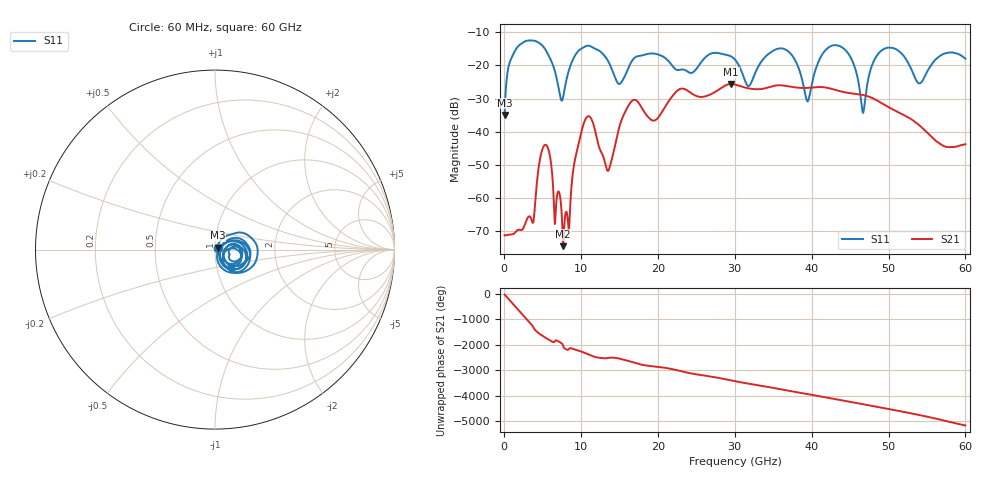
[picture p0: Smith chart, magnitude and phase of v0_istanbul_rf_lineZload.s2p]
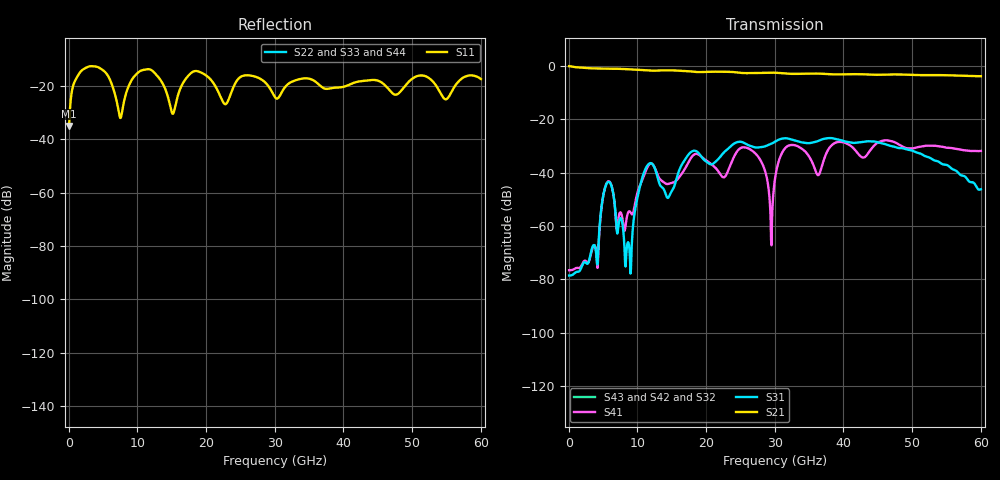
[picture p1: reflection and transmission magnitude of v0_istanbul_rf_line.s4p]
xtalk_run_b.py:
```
"""Istanbul run (b): line pair with the real far-end terminations (RS 25 ohm, RG 50 ohm, per line), ports only at the
near end: CST port 1 = line A (y = 0), CST port 3 = line B (y = -0.625), both z = 0.3 (touchstone ports 1, 2).
NEXT = |S21| of the s2p (CST S31). EO crosstalk from the gap fields as in run (a): both lines sampled 5 um from their
centre (A y +-0.005, B y -0.62/-0.63), 50 ohm source, push-pull, n_g 2.27. The fields already contain the
terminations, so no renormalisation. Compared with run (a) (50 ohm ports at both ends of both lines)."""
import os, sys
HERE = os.path.dirname(os.path.abspath(__file__))
RA = os.path.join(HERE, "../istanbul_run_a")
sys.path.insert(0, RA); sys.path.insert(0, os.path.abspath(os.path.join(HERE, "../../../..")))
import numpy as np, skrf as rf, matplotlib
matplotlib.use("Agg"); import matplotlib.pyplot as plt
from mzm_interconnect import parameters as P, xtalk_fields as XF
from load_fields import load
p = P.defaults(); p["Rt_R"] = 50.0; p["Zs_R"] = 50.0
dB = lambda s: 20 * np.log10(np.maximum(abs(s), 1e-12))
Xb = XF.eo_crosstalk_fields(p, load(base=HERE, a_zip="e-field (f=1) [1]_lineA.zip")); f = Xb["f_GHz"]
Xa = XF.eo_crosstalk_fields(p, load()); assert np.allclose(Xa["f_GHz"], f)
eob, eoa = dB(Xb["X"]), dB(Xa["X"])
nb = rf.Network(os.path.join(HERE, "v0_istanbul_rf_lineZload.s2p")); fb = nb.f / 1e9
na = rf.Network(os.path.join(RA, "v0_istanbul_rf_line.s4p")); fa = na.f / 1e9
nxb_s, nxa_s = dB(nb.s[:, 1, 0]), dB(na.s[:, 2, 0])
nxb = np.interp(f, fb, nxb_s)
# termination check: DC load seen at port 1 (line resistance included)
s0 = nb.s[0, 0, 0].real; print(f"S11 at DC {s0:+.4f} -> input resistance {50 * (1 + s0) / (1 - s0):.1f} ohm (load + line series R)")
m = (fb >= 1) & (fb <= 60); ma = (fa >= 1) & (fa <= 60)
print(f"|S11| 1-60 GHz: run b median {np.median(dB(nb.s[m, 0, 0])):.1f} dB, max {dB(nb.s[m, 0, 0]).max():.1f}; "
      f"run a median {np.median(dB(na.s[ma, 0, 0])):.1f}, max {dB(na.s[ma, 0, 0]).max():.1f} dB")
np.savetxt(os.path.join(HERE, "xtalk_run_b.csv"), np.c_[f, nxb, eob, eoa], delimiter=",", fmt="%.3f",
           header="f_GHz,NEXT_dB_run_b,EO_dB_run_b,EO_dB_run_a", comments="")
k = f >= 5; d = eob - eoa
print("f (GHz) | NEXT b | EO b | EO a | EO b - a (dB)")
for q in (5, 10, 20, 30, 40, 50, 60):
    i = np.argmin(abs(f - q)); print(f"{q:3d} | {nxb[i]:6.1f} | {eob[i]:6.1f} | {eoa[i]:6.1f} | {d[i]:+5.1f}")
for lab, y in (("NEXT b", nxb), ("EO b", eob), ("EO a", eoa)):
    j = np.argmax(np.where(k, y, -999)); print(f"max {lab} 5-60 GHz: {y[j]:.1f} dB at {f[j]:.0f} GHz")
print("EO b - EO a, 5-60 GHz: median %+.1f dB, 5-95%% %+.1f .. %+.1f; correlation of dB curves %.2f"
      % (np.median(d[k]), *np.percentile(d[k], [5, 95]), np.corrcoef(eob[k], eoa[k])[0, 1]))
print("corr(EO b, NEXT b) 5-60 GHz: %.2f" % np.corrcoef(eob[k], nxb[k])[0, 1])
fig, ax = plt.subplots(figsize=(8.5, 4.6))
ax.plot(fb, nxb_s, color="0.55", lw=1.0, label="NEXT |S31| (port data)")
ax.plot(f, eob, "o-", color="#2a78d6", ms=3, lw=1.4, label="EO crosstalk B/A (gap fields)")
ax.set_xlim(0, 60); ax.set_ylim(-110, -20); ax.set_xlabel("frequency (GHz)"); ax.set_ylabel("dB"); ax.grid(alpha=0.3)
ax.set_title("Istanbul run (b), 8.75 mm, 625 um pitch, real terminations (RS 25, RG 50 ohm): NEXT and EO crosstalk", fontsize=9.5)
ax.legend(frameon=False, fontsize=8, loc="lower right"); fig.tight_layout(); fig.savefig(os.path.join(HERE, "xtalk_run_b.png"), dpi=150)
fig, ax = plt.subplots(figsize=(8.5, 4.6))
ax.plot(f, eoa, "o-", color="#eb6834", ms=3, lw=1.3, label="run (a): 50 ohm ports at both ends")
ax.plot(f, eob, "o-", color="#2a78d6", ms=3, lw=1.3, label="run (b): real terminations at the far end")
ax.set_xlim(0, 60); ax.set_ylim(-110, -20); ax.set_xlabel("frequency (GHz)"); ax.set_ylabel("EO crosstalk B/A (dB)"); ax.grid(alpha=0.3)
ax.set_title("Istanbul 8.75 mm, EO crosstalk: run (a) vs run (b) (gap fields, both lines sampled at +-5 um)", fontsize=9.5)
ax.legend(frameon=False, fontsize=8, loc="lower right"); fig.tight_layout(); fig.savefig(os.path.join(HERE, "eo_run_a_vs_b.png"), dpi=150)
```
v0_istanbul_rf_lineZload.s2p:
! TOUCHSTONE file generated by CST MICROWAVE STUDIO
! Date and time: Thu Nov  5 17:02:14 2026
! Project name: v0_istanbul_rf_line+Zload.cst
! Parameters = {LN_THICKNESS=0.000275; RG=50; RS=25; SILICON_THICKNESS=0.55}
! Header version: 2024
! Port assignment regex: !\s*Touchstone port\s*([0-9]+)\s*=\s*(CST MWS port|CST DES external port|CST DES block port)\s*(.+)\s* \(\"(.*)\"\)(\s*mode\s*([0-9]+))?.*
! Touchstone port assignment:
! Touchstone port 1 = CST MWS port 1 ("")
! Touchstone port 2 = CST MWS port 3 ("")
# GHz S MA R 50
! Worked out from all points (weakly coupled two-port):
!   1000 points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, 60 MHz to 60 GHz, reference 50 ohm
!   highest |S21| = -25.63 dB at 29.52 GHz (marker M1); lowest = -74.6 dB at 7.68 GHz (marker M2)
!   lowest |S11| = -35.0 dB at 60 MHz (marker M3), VSWR 1.04, Z = 51.4 + j1.12 ohm
!   |S11| at or under -10 dB: start of sweep to end of sweep
!   S12 and S22 are empty: the file has one direction only
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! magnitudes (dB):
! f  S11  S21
! 60 MHz  -35.0  -71.3
! 5.34 GHz  -15.1  -44.0
! 7.68 GHz  -29.5  -74.6
! 10.8 GHz  -14.1  -35.5
! 13.5 GHz  -18.6  -51.9
! 16.68 GHz  -18.4  -30.6
! 29.52 GHz  -17.3  -25.6
! 30.06 GHz  -18.3  -25.8
! 43.56 GHz  -14.1  -27.7
! 46.68 GHz  -34.4  -28.9
! 60 GHz  -18.0  -43.8
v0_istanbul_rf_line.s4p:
! TOUCHSTONE file generated by CST MICROWAVE STUDIO
! Date and time: Thu Nov  5 15:45:10 2026
! Project name: v0_istanbul_rf_line.cst
! Parameters = {LN_THICKNESS=0.000275; SILICON_THICKNESS=0.55}
! Header version: 2024
! Port assignment regex: !\s*Touchstone port\s*([0-9]+)\s*=\s*(CST MWS port|CST DES external port|CST DES block port)\s*(.+)\s* \(\"(.*)\"\)(\s*mode\s*([0-9]+))?.*
! Touchstone port assignment:
! Touchstone port 1 = CST MWS port 1 ("")
! Touchstone port 2 = CST MWS port 2 ("")
! Touchstone port 3 = CST MWS port 3 ("")
! Touchstone port 4 = CST MWS port 4 ("")
# GHz S MA R 50
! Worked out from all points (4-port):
!   1000 points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, 60 MHz to 60 GHz, reference 50 ohm
!   strongest paths, dB at 60 MHz, 15.06 GHz, 30.06 GHz, 45.06 GHz, 60 GHz:
!     S21: -0.1, -1.7, -2.6, -3.4, -3.9
!     S31: -78.5, -46.7, -28.4, -28.7, -46.2
!     S41: -76.5, -43.8, -41.8, -28.6, -31.9
!     S43: -, -, -, -, -
!     S42: -, -, -, -, -
!     S32: -, -, -, -, -
!   lowest |S11| = -35.0 dB at 60 MHz (marker M1), VSWR 1.04, Z = 51.4 + j1.06 ohm
!   |S11| at or under -10 dB: start of sweep to end of sweep
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0.06  0.01769 35.6  0 0.0  0 0.0  0 0.0
      0.9858 -1.8  0 0.0  0 0.0  0 0.0
      0.0001184 158.7  0 0.0  0 0.0  0 0.0
      0.0001491 -20.8  0 0.0  0 0.0  0 0.0
18.18  0.1852 0.8  0 0.0  0 0.0  0 0.0
       0.7761 -71.4  0 0.0  0 0.0  0 0.0
       0.02569 -168.8  0 0.0  0 0.0  0 0.0
       0.02146 2.2  0 0.0  0 0.0  0 0.0
60  0.1334 -44.2  0 0.0  0 0.0  0 0.0
    0.6401 35.9  0 0.0  0 0.0  0 0.0
    0.004881 131.0  0 0.0  0 0.0  0 0.0
    0.02552 -43.7  0 0.0  0 0.0  0 0.0
